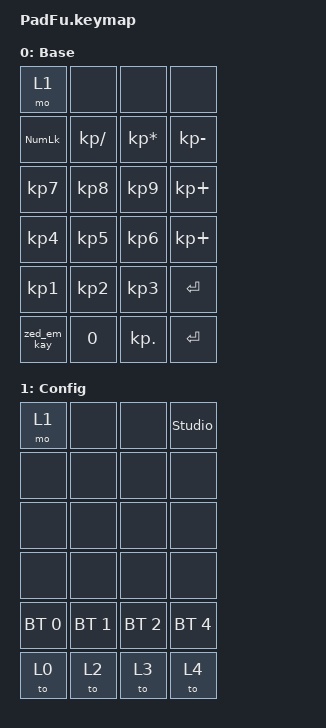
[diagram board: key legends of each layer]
#include <behaviors.dtsi>
#include <dt-bindings/zmk/keys.h>
#include <dt-bindings/zmk/bt.h>

/ {
    macros {
        zed_em_kay: zed_em_kay {
            compatible = "zmk,behavior-macro";
            #binding-cells = <0>;
            bindings
                = <&macro_press &kp LSHFT>
                , <&macro_tap &kp Z &kp M &kp K>
                , <&macro_release &kp LSHFT>
                ;
        };
    };

    keymap {
        compatible = "zmk,keymap";

        // ==== Layer 0 - Base Numbers + Letters ====
        base_layer {
            display-name = "Base";
            bindings = <
                &mo 1             &none           &none              &none
                &kp KP_NUM        &kp KP_SLASH    &kp KP_MULTIPLY    &kp KP_MINUS
                &kp KP_N7         &kp KP_N8       &kp KP_N9          &kp KP_PLUS
                &kp KP_N4         &kp KP_N5       &kp KP_N6          &kp KP_PLUS
                &kp KP_N1         &kp KP_N2       &kp KP_N3          &kp ENTER
                &zed_em_kay       &kp N0          &kp KP_DOT         &kp ENTER
            >;
        };

        config_layer {
            display-name = "Config";
            bindings = <
                &mo 1          &none        &none           &studio_unlock
                &none          &none        &none           &none
                &none          &none        &none           &none
                &none          &none        &none           &none
                &bt BT_SEL 0   &bt BT_SEL 1 &bt BT_SEL 2    &bt BT_SEL 4
                &to 0          &to 2        &to 3           &to 4
            >;
        };

        extra_layer_2 {
            status = "reserved";
        };

        extra_layer_3 {
            status = "reserved";
        };

        extra_layer_4 {
            status = "reserved";
        };

        extra_layer_5 {
            status = "reserved";
        };
    };
};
